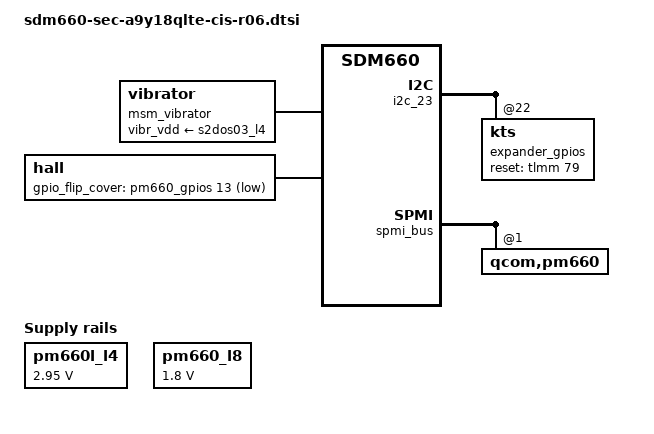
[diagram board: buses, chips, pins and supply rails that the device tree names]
/*
 * Copyright (c) 2017, The Linux Foundation. All rights reserved.
 *
 * This program is free software; you can redistribute it and/or modify
 * it under the terms of the GNU General Public License version 2 and
 * only version 2 as published by the Free Software Foundation.
 *
 * This program is distributed in the hope that it will be useful,
 * but WITHOUT ANY WARRANTY; without even the implied warranty of
 * MERCHANTABILITY or FITNESS FOR A PARTICULAR PURPOSE.  See the
 * GNU General Public License for more details.
 */




#include "sdm660-sec-a9y18qlte-common.dtsi"
#include "sdm660-sec-a9y18qlte-sensor-r01.dtsi"

&soc {
	/* not use eMMC */
	/delete-property/ sdhc-msm-crypto;

	i2c_23: i2c@23 {
		expander_gpios: kts@22 {
			kts,reset-gpio = <&tlmm 79 0>;
		};
	};

        msm_vibrator {
		compatible = "vibrator";
		motor-vdd_type = <1>; /* 0: gpio, 1: pmic */
                vibr_vdd-supply = <&s2dos03_l4>;
	};

	hall {
		status = "okay";
		compatible = "hall";
		linux,input-type = <1>;
		linux,code = <21>;
		hall,gpio_flip_cover = <&pm660_gpios 13 0x1>;
		debounce-interval = <15>;
	};
};

&spmi_bus {
	qcom,pm660@1 {
	        pm660_haptics: qcom,haptic@c000 {
                        status = "disabled";
	        };
	};
};

&sdhc_1 {
	status = "disabled";
};

/* for uMCP VCC & VCCQ2 */
&pm660l_l4 {
	regulator-min-microvolt = <2950000>;
	regulator-max-microvolt = <2950000>;
};

&pm660_l8 {
	regulator-min-microvolt = <1800000>;
	regulator-max-microvolt = <1800000>;
};
